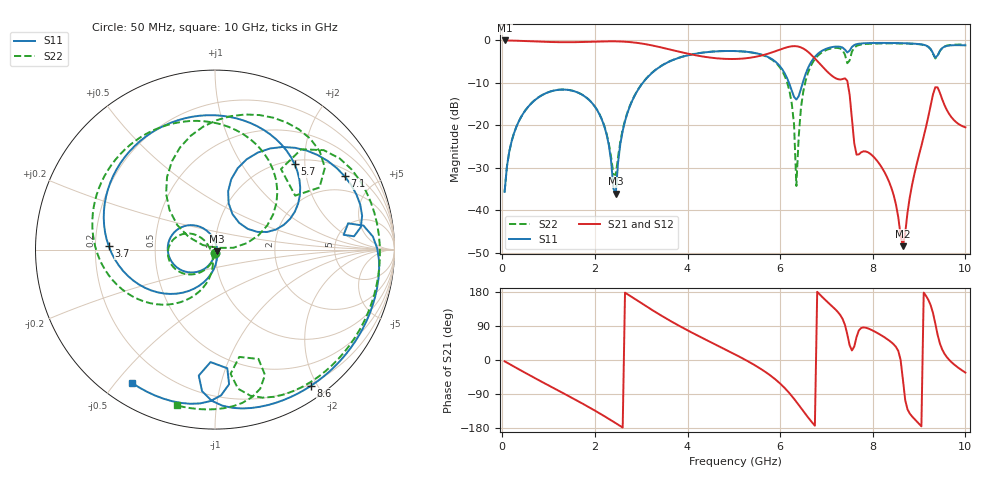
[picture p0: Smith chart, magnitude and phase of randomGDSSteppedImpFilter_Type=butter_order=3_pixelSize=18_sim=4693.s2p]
! freq	dB(S11)	phase(S11)	dB(S12)	phase(S12)
!  dB(S21)	phase(S21)	dB(S22)	phase(S22)
!S-par simulation data
#  GHz  S  DB  R 50
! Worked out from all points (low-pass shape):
!   200 points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, 50 MHz to 10 GHz, reference 50 ohm
!   highest |S21| = -0.01 dB at 50 MHz (marker M1); lowest = -48.5 dB at 8.65 GHz (marker M2)
!   |S21| within 3 dB of the highest: start of sweep to 3.958 GHz; 5.772 GHz to 6.634 GHz (862.4 MHz wide, 13.9 % of centre)
!   lowest |S11| = -36.2 dB at 2.45 GHz (marker M3), VSWR 1.03, Z = 51.3 - j0.899 ohm
!   |S11| at or under -10 dB: start of sweep to 3.035 GHz; 6.19 GHz to 6.488 GHz (297.5 MHz wide, 4.69 % of centre)
!   |S22| runs from -35.7 to -0.7 dB; largest |S21 - S12| = 0
!   S11 on the Smith chart (normalised r, x): 50 MHz: 1.00, -0.03; 3.7 GHz: 0.26, +0.01; 5.7 GHz: 1.07, +1.77; 7.1 GHz: 1.27, +3.34; 8.6 GHz: 0.17, -1.92; 10 GHz: 0.09, -0.55
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0.05  -35.69 -91.5  -0.01 -3.5  -0.01 -3.5  -35.68 -91.2
0.55  -15.76 -129.8  -0.17 -37.5  -0.17 -37.5  -15.74 -125.9
1.75  -12.97 146.2  -0.37 -116.3  -0.37 -116.3  -12.96 161.4
2.2  -20.15 109.1  -0.24 -147.9  -0.24 -147.9  -20.04 139.4
2.45  -36.15 -34.3  -0.22 -166.7  -0.22 -166.7  -31.71 -136.1
2.7  -17.20 -99.3  -0.34 173.9  -0.34 173.9  -17.02 -99.6
3.4  -6.25 -159.3  -1.57 119.7  -1.57 119.7  -6.21 -143.8
3.7  -4.55 178.2  -2.35 98.3  -2.35 98.3  -4.52 -163.3
5.05  -2.51 90.3  -4.37 13.3  -4.37 13.3  -2.52 117.3
5.7  -3.73 47.1  -3.25 -33.0  -3.25 -33.0  -3.81 72.0
6.2  -10.26 18.7  -1.48 -87.5  -1.48 -87.5  -11.87 18.2
6.35  -13.94 47.7  -1.37 -110.3  -1.37 -110.3  -34.31 30.2
6.45  -11.40 73.6  -1.65 -126.7  -1.65 -126.7  -15.79 154.4
6.7  -4.57 66.2  -3.69 -166.2  -3.69 -166.2  -5.23 116.0
7.1  -1.62 29.6  -8.17 144.4  -8.17 144.4  -1.90 66.2
7.5  -2.43 11.2  -12.76 38.8  -12.76 38.8  -4.73 50.7
7.65  -0.88 0.5  -26.92 60.9  -26.92 60.9  -1.30 36.1
8.35  -0.60 -41.6  -33.26 51.7  -33.26 51.7  -0.70 -19.0
8.6  -0.65 -54.8  -45.84 1.0  -45.84 1.0  -0.72 -35.1
8.65  -0.66 -57.5  -48.49 -50.8  -48.49 -50.8  -0.73 -38.3
9.35  -4.05 -92.3  -11.04 96.3  -11.04 96.3  -4.25 -77.2
10  -1.16 -122.0  -20.48 -33.2  -20.48 -33.2  -0.97 -103.8
